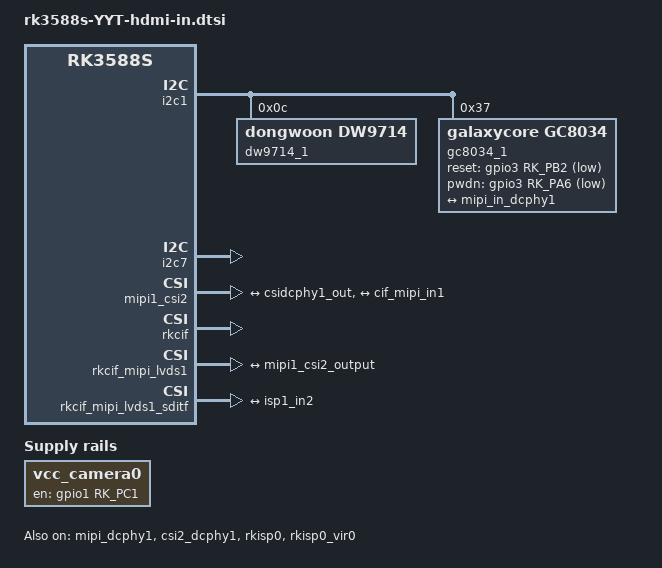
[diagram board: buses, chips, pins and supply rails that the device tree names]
// SPDX-License-Identifier: (GPL-2.0+ OR MIT)
/*
 * Copyright (c) 2021 Rockchip Electronics Co., Ltd.
 *
 */
/{
    vcc_camera0: vcc-camera1-regulator {
        compatible = "regulator-fixed";
        gpio = <&gpio1 RK_PC1 GPIO_ACTIVE_HIGH>;
        pinctrl-names = "default";
        pinctrl-0 = <&camera0_pwr>;
        regulator-name = "vcc_camera0";
        enable-active-high;
        regulator-always-on;
        regulator-boot-on;
    };
};

&mipi_dcphy0 {
        status = "disabled";
};

&mipi_dcphy1 {
        status = "okay";
};
&csi2_dcphy0 {
	status = "disabled";

        ports {
                #address-cells = <1>;
                #size-cells = <0>;
                port@0 {
                        reg = <0>;
                        #address-cells = <1>;
                        #size-cells = <0>;

                        mipi_in_dcphy0: endpoint@1 {
                                reg = <1>;
                                remote-endpoint = <&gc8034_0_out>;
                                data-lanes = <1 2 3 4>;
                        };
                };
                port@1 {
                        reg = <1>;
                        #address-cells = <1>;
                        #size-cells = <0>;

                        csidcphy0_out: endpoint@0 {
                                reg = <0>;
                                remote-endpoint = <&mipi0_csi2_input>;
                        };
                };
        };
};

&csi2_dcphy1 {
	status = "okay";

	ports {
		#address-cells = <1>;
		#size-cells = <0>;
		port@0 {
			reg = <0>;
			#address-cells = <1>;
			#size-cells = <0>;

			mipi_in_dcphy1: endpoint@1 {
				reg = <1>;
				remote-endpoint = <&gc8034_1_out>;
				data-lanes = <1 2 3 4>;
			};
		};
		port@1 {
			reg = <1>;
			#address-cells = <1>;
			#size-cells = <0>;

			csidcphy1_out: endpoint@0 {
				reg = <0>;
				remote-endpoint = <&mipi1_csi2_input>;
			};
		};
	};
};

&i2c1 {
	status = "okay";

	inctrl-names = "default";
	pinctrl-0 = <&i2c1m4_xfer>;

	dw9714_1: dw9714@c {
        compatible = "dongwoon,dw9714";
        status = "okay";
        reg = <0x0c>;
        rockchip,camera-module-index = <0>;
        rockchip,vcm-start-current = <10>;
        rockchip,vcm-rated-current = <85>;
        rockchip,vcm-step-mode = <5>;
        rockchip,camera-module-facing = "back";
    };

	gc8034_1: gc8034@37 {
		status = "okay";
        compatible = "galaxycore,gc8034";
        reg = <0x37>;
        clocks = <&cru CLK_MIPI_CAMARAOUT_M4>;
        clock-names = "xvclk";
        power-domains = <&power RK3588_PD_VI>;
        pinctrl-names = "default";
        pinctrl-0 = <&mipim0_camera4_clk>;
        //avdd-supply = <&vcc_camera1>;
        rockchip,grf = <&sys_grf>;
        reset-gpios = <&gpio3 RK_PB2 GPIO_ACTIVE_LOW>;
        pwdn-gpios = <&gpio3 RK_PA6 GPIO_ACTIVE_LOW>;
        rockchip,camera-module-index = <0>;
        rockchip,camera-module-facing = "back";
        rockchip,camera-module-name = "RK-CMK-8M-2-v1";
        rockchip,camera-module-lens-name = "CK8401";
        lens-focus = <&dw9714_1>;
        port {
            gc8034_1_out: endpoint {
                remote-endpoint = <&mipi_in_dcphy1>;
                data-lanes = <1 2 3 4>;
            };
        };
    };
};

&i2c7 {
	status = "okay";

	dw9714_0: dw9714@c {
        compatible = "dongwoon,dw9714";
        status = "disabled";
        reg = <0x0c>;
        rockchip,camera-module-index = <0>;
        rockchip,vcm-start-current = <10>;
        rockchip,vcm-rated-current = <85>;
        rockchip,vcm-step-mode = <5>;
        rockchip,camera-module-facing = "back";
    };

	gc8034_0: gc8034@37 {
		status = "disabled";
        compatible = "galaxycore,gc8034";
        reg = <0x37>;
        clocks = <&cru CLK_MIPI_CAMARAOUT_M3>;
        clock-names = "xvclk";
        power-domains = <&power RK3588_PD_VI>;
        pinctrl-names = "default";
        pinctrl-0 = <&mipim0_camera3_clk>;
        avdd-supply = <&vcc_camera0>;
        rockchip,grf = <&sys_grf>;
        reset-gpios = <&gpio1 RK_PC6 GPIO_ACTIVE_LOW>;
        pwdn-gpios = <&gpio1 RK_PC4 GPIO_ACTIVE_LOW>;
        rockchip,camera-module-index = <0>;
        rockchip,camera-module-facing = "front";
        rockchip,camera-module-name = "RK-CMK-8M-2-v1";
        rockchip,camera-module-lens-name = "CK8401";
        lens-focus = <&dw9714_0>;
        port {
            gc8034_0_out: endpoint {
                remote-endpoint = <&mipi_in_dcphy0>;
                data-lanes = <1 2 3 4>;
            };
        };
    };
};

&mipi0_csi2 {
        status = "disabled";

        ports {
                #address-cells = <1>;
                #size-cells = <0>;

                port@0 {
                        reg = <0>;
                        #address-cells = <1>;
                        #size-cells = <0>;

                        mipi0_csi2_input: endpoint@1 {
                                reg = <1>;
                                remote-endpoint = <&csidcphy0_out>;
                        };
                };

                port@1 {
                        reg = <1>;
                        #address-cells = <1>;
                        #size-cells = <0>;

                        mipi0_csi2_output: endpoint@0 {
                                reg = <0>;
                                remote-endpoint = <&cif_mipi_in0>;
                        };
                };
        };
};

&mipi1_csi2 {
	status = "okay";

	ports {
		#address-cells = <1>;
		#size-cells = <0>;

		port@0 {
			reg = <0>;
			#address-cells = <1>;
			#size-cells = <0>;

			mipi1_csi2_input: endpoint@1 {
				reg = <1>;
				remote-endpoint = <&csidcphy1_out>;
			};
		};

		port@1 {
			reg = <1>;
			#address-cells = <1>;
			#size-cells = <0>;

			mipi1_csi2_output: endpoint@0 {
				reg = <0>;
				remote-endpoint = <&cif_mipi_in1>;
			};
		};
	};
};

&rkcif {
	status = "okay";
};

&rkcif_mipi_lvds {
	status = "disabled";

	port {
		cif_mipi_in0: endpoint {
			remote-endpoint = <&mipi0_csi2_output>;
		};
	};
};

&rkcif_mipi_lvds_sditf {
	status = "disabled";

	port {
		mipi_lvds_sditf: endpoint {
			//remote-endpoint = <&isp1_in1>;
		};
	};
};

&rkcif_mipi_lvds1 {
	status = "okay";

	port {
		cif_mipi_in1: endpoint {
			remote-endpoint = <&mipi1_csi2_output>;
		};
	};
};

&rkcif_mipi_lvds1_sditf {
	status = "okay";

	port {
		mipi1_lvds_sditf: endpoint {
			remote-endpoint = <&isp1_in2>;
		};
	};
};

&rkcif_mmu {
	status = "okay";
};

&rkisp0 {
 status = "okay";
};

&isp0_mmu {
 status = "okay";
};

&rkisp0_vir0 {
    status = "okay";

    port {
        #address-cells = <1>;
        #size-cells = <0>;

        isp1_in2: endpoint@1 {
			reg = <1>;
			remote-endpoint = <&mipi1_lvds_sditf>;
		};
    };
};


&pinctrl {
    cam {
        camera1_pwr: camera1-pwr {
            rockchip,pins =
                /* camera power en */
                <3 RK_PC6 RK_FUNC_GPIO &pcfg_pull_none>;
        };
        camera0_pwr: camera0-pwr {
            rockchip,pins =
                /* camera power en */
                <1 RK_PC1 RK_FUNC_GPIO &pcfg_pull_none>;
        };
    };
};
